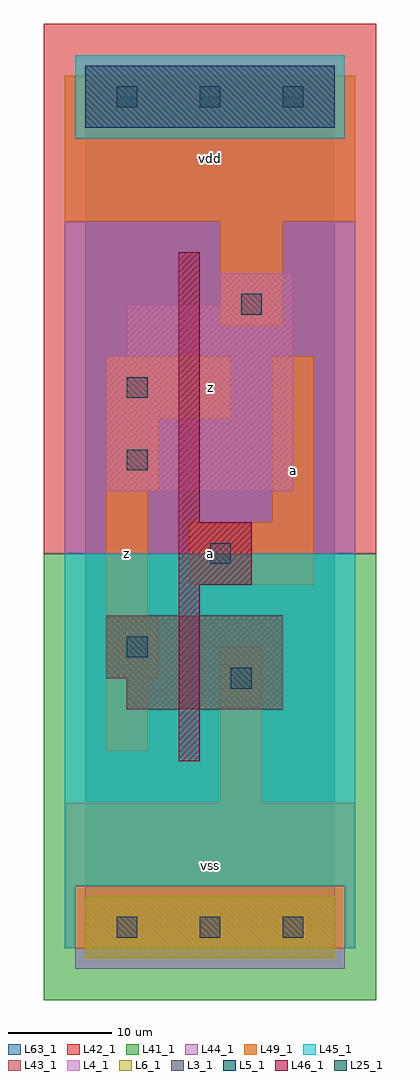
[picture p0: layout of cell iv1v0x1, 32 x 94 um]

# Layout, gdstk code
import gdstk
lib = gdstk.Library(unit=1e-6, precision=1e-09)
def R(c, l, rs):  # rectangles x0, y0, x1, y1
    for r in rs: c.add(gdstk.rectangle(r[:2], r[2:], *l))
def A(c, l, x, y, w, h, nx, ny, dx, dy):  # array of equal rectangles
    R(c, l, [(x+i*dx, y+j*dy, x+i*dx+w, y+j*dy+h) for i in range(nx) for j in range(ny)])
L3_1 = (3, 1)
L4_1 = (4, 1)
L5_1 = (5, 1)
L6_1 = (6, 1)
L25_1 = (25, 1)
L41_1 = (41, 1)
L42_1 = (42, 1)
L43_1 = (43, 1)
L44_1 = (44, 1)
L45_1 = (45, 1)
L46_1 = (46, 1)
L49_1 = (49, 1)
L63_1 = (63, 1)

iv1v0x1 = lib.new_cell('iv1v0x1')
R(iv1v0x1, L3_1, [(4,21,19,24), (2,24,19,30)])
R(iv1v0x1, L4_1, [(2,42,20,55), (4,55,20,60), (13,60,20,63)])
R(iv1v0x1, L5_1, [(0,77,24,83)])
R(iv1v0x1, L6_1, [(0,-3,24,3), (0,-3,24,3)])
A(iv1v0x1, L25_1, 3, -1, 2, 2, 3, 2, 8, 80)
R(iv1v0x1, L25_1, [(14,23,16,25), (4,26,6,28), (12,35,14,37), (4,44,6,46), (4,51,6,53), (15,59,17,61)])
R(iv1v0x1, L41_1, [(-4,-7,28,36)])
R(iv1v0x1, L42_1, [(-4,36,28,87)])
R(iv1v0x1, L43_1, [(0,-3,24,3), (4,21,19,24), (2,24,19,30), (2,42,20,55), (4,55,20,60), (13,60,20,63), (0,77,24,83)])
R(iv1v0x1, L44_1, [(-1,-4,25,4), (-2,36,26,76), (-2,76,-1,82), (25,76,26,82)])
R(iv1v0x1, L45_1, [(-2,-2,-1,4), (25,-2,26,4), (-2,4,26,36), (-1,76,25,84)])
R(iv1v0x1, L46_1, [(9,16,11,33), (9,33,16,39), (9,39,11,65)])
R(iv1v0x1, L49_1, [(-2,-2,26,12), (13,12,17,27), (2,17,6,24), (2,24,7,30), (2,30,6,42), (10,33,22,39), (18,39,22,55), (2,42,7,49), (2,49,14,55), (13,58,19,68), (-2,68,26,82)])
R(iv1v0x1, L63_1, [(0,0,24,80)])
iv1v0x1.add(gdstk.Label('z', (4,36), layer=49, texttype=1))
iv1v0x1.add(gdstk.Label('vss', (12,6), layer=49, texttype=1))
iv1v0x1.add(gdstk.Label('a', (12,36), layer=49, texttype=1))
iv1v0x1.add(gdstk.Label('z', (12,52), layer=49, texttype=1))
iv1v0x1.add(gdstk.Label('vdd', (12,74), layer=49, texttype=1))
iv1v0x1.add(gdstk.Label('a', (20,44), layer=49, texttype=1))

lib.write_gds('iv1v0x1.gds')
